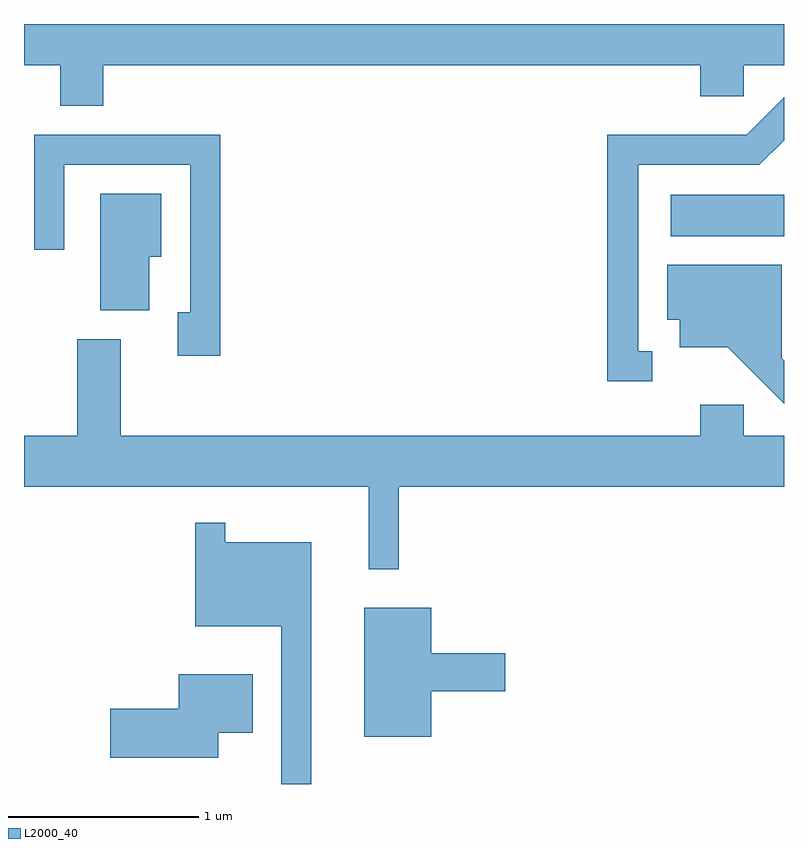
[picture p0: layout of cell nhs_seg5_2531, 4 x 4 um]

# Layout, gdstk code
import gdstk
lib = gdstk.Library(unit=1e-6, precision=1e-09)
def R(c, l, rs):  # rectangles x0, y0, x1, y1
    for r in rs: c.add(gdstk.rectangle(r[:2], r[2:], *l))
def P(c, l, *ps):  # polygons
    for p in ps: c.add(gdstk.Polygon(p, *l))
L2000_40 = (2000, 40)

nhs_seg5_2531 = lib.new_cell('nhs_seg5_2531')
R(nhs_seg5_2531, L2000_40, [(263.016,1506.956,263.611,1507.174)])
P(nhs_seg5_2531, L2000_40, [(260.029,1507.856),(263.171,1507.856),(263.171,1507.691),(263.399,1507.691),(263.399,1507.856),(263.611,1507.856),(263.611,1508.072),(259.611,1508.072),(259.611,1507.856),(259.801,1507.856),(259.801,1507.641),(260.029,1507.641)],
  [(262.918,1506.349),(262.844,1506.349),(262.844,1507.331),(263.482,1507.331),(263.611,1507.46),(263.611,1507.686),(263.414,1507.489),(262.681,1507.489),(262.681,1506.191),(262.918,1506.191)],
  [(260.644,1507.489),(259.666,1507.489),(259.666,1506.883),(259.824,1506.883),(259.824,1507.331),(260.486,1507.331),(260.486,1506.554),(260.421,1506.554),(260.421,1506.326),(260.644,1506.326)],
  [(260.269,1506.846),(260.334,1506.846),(260.334,1507.179),(260.011,1507.179),(260.011,1506.566),(260.269,1506.566)],
  [(263.611,1506.3),(263.599,1506.312),(263.599,1506.804),(262.996,1506.804),(262.996,1506.516),(263.061,1506.516),(263.061,1506.371),(263.314,1506.371),(263.611,1506.074)],
  [(261.584,1505.636),(263.611,1505.636),(263.611,1505.904),(263.399,1505.904),(263.399,1506.069),(263.171,1506.069),(263.171,1505.904),(260.119,1505.904),(260.119,1506.414),(259.891,1506.414),(259.891,1505.904),(259.611,1505.904),(259.611,1505.636),(261.426,1505.636),(261.426,1505.203),(261.584,1505.203)],
  [(261.124,1505.344),(260.669,1505.344),(260.669,1505.448),(260.511,1505.448),(260.511,1504.901),(260.966,1504.901),(260.966,1504.072),(261.124,1504.072)],
  [(261.754,1504.561),(262.144,1504.561),(262.144,1504.759),(261.754,1504.759),(261.754,1504.999),(261.401,1504.999),(261.401,1504.321),(261.754,1504.321)],
  [(260.634,1504.341),(260.814,1504.341),(260.814,1504.649),(260.426,1504.649),(260.426,1504.469),(260.066,1504.469),(260.066,1504.211),(260.634,1504.211)])

lib.write_gds('nhs_seg5_2531.gds')
